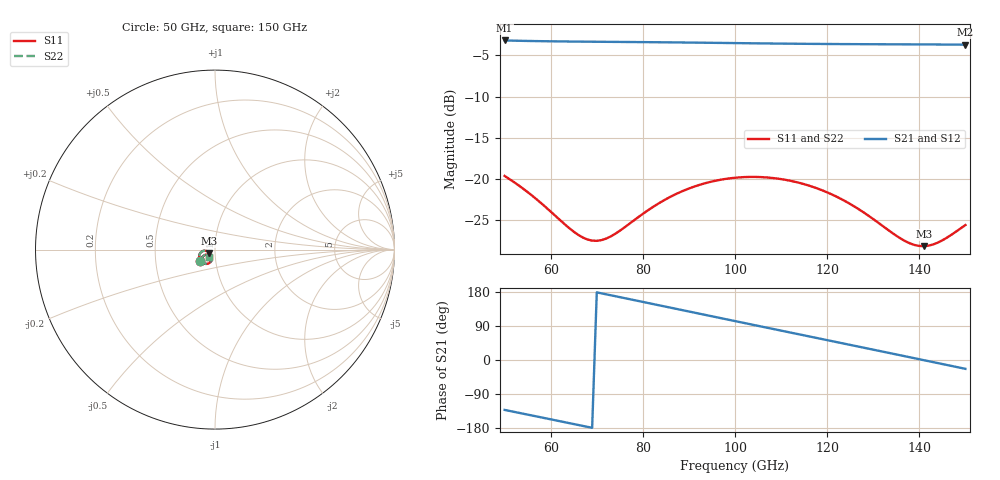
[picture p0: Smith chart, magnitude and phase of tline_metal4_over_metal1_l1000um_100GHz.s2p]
#  GHZ S DB R 50
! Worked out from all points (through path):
!   101 points, 50 GHz to 150 GHz, reference 50 ohm
!   highest |S21| = -3.18 dB at 50 GHz (marker M1); lowest = -3.7 dB at 150 GHz (marker M2)
!   group delay of S21, straight-line fit = 6.99 ps
!   lowest |S11| = -28.2 dB at 141 GHz (marker M3), VSWR 1.08, Z = 46.7 - j1.85 ohm
!   |S11| at or under -10 dB: start of sweep to end of sweep
!   |S22| runs from -28.2 to -19.6 dB; largest |S21 - S12| = 7.9e-14
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50  -19.63 -142.1  -3.18 -131.7  -3.18 -131.7  -19.60 -142.1
55  -21.59 -149.4  -3.24 -144.1  -3.24 -144.1  -21.55 -149.4
59  -23.46 -151.7  -3.27 -154.0  -3.27 -154.0  -23.40 -151.8
64  -25.95 -147.2  -3.30 -166.5  -3.30 -166.5  -25.88 -147.4
67  -27.11 -138.9  -3.32 -174.0  -3.32 -174.0  -27.04 -139.3
69  -27.48 -131.5  -3.33 -179.0  -3.33 -179.0  -27.42 -132.0
72  -27.24 -120.4  -3.34 173.4  -3.34 173.4  -27.20 -121.0
78  -25.05 -108.4  -3.37 158.3  -3.37 158.3  -25.05 -109.0
84  -22.77 -109.4  -3.40 143.2  -3.40 143.2  -22.79 -109.9
92  -20.76 -119.7  -3.44 122.9  -3.44 122.9  -20.79 -120.1
96  -20.18 -126.5  -3.47 112.8  -3.47 112.8  -20.21 -126.8
100  -19.85 -133.6  -3.50 102.7  -3.50 102.7  -19.88 -134.0
104  -19.74 -140.9  -3.52 92.6  -3.52 92.6  -19.78 -141.3
108  -19.87 -148.2  -3.55 82.6  -3.55 82.6  -19.90 -148.5
112  -20.21 -155.2  -3.57 72.5  -3.57 72.5  -20.25 -155.5
117  -20.98 -163.1  -3.59 60.0  -3.59 60.0  -21.01 -163.5
126  -23.37 -173.1  -3.62 37.4  -3.62 37.4  -23.42 -173.5
134  -26.50 -169.9  -3.64 17.2  -3.64 17.2  -26.57 -170.3
138  -27.82 -160.1  -3.65 7.1  -3.65 7.1  -27.91 -160.3
141  -28.15 -149.6  -3.66 -0.5  -3.66 -0.5  -28.24 -149.7
145  -27.44 -136.5  -3.67 -10.6  -3.67 -10.6  -27.52 -136.6
150  -25.59 -128.2  -3.69 -23.3  -3.69 -23.3  -25.65 -128.3
